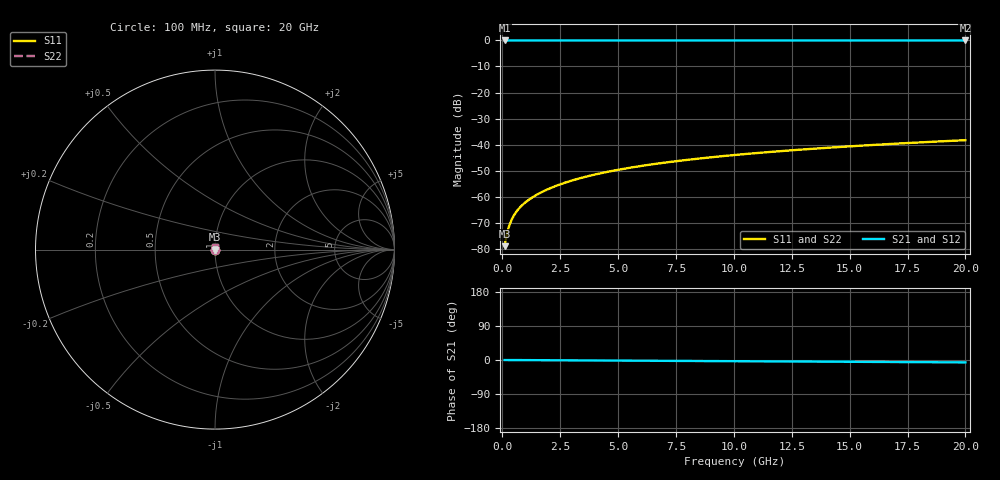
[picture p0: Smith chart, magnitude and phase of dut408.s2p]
! Touchstone file exported from HFSS 2026.1.0
!  File:  C:/ffzhzh/LocalFiles/Ansys_Project_Files/temp_train_TSV_408_1783020485_53980.aedt
!  Generated:  03:29:54 AM Jul  3, 2026
!  Design:  TSV
!  Project:  temp_train_TSV_408_1783020485_53980
! Variables:
!  h_bsmrdl = 2um
!  h_ox = 20um
!  h_rdl = 5um
!  h_sub = 56.3um
!  h_tmrdl = 5um
!  h_tsv = 56.3um
!  h_via = 3um
!  l_bsmrdl = 300um
!  l_sub = 426.4um
!  l_tmrdl = 200um
!  m_sub = 200um
!  pitch = 58.38um
!  r_tsv = 13.2um
!  s_tmrdl = 10um
!  w_bsmrdl = 18um
!  w_sub = 500um
!  w_tmrdl = 12um
!  x_tsv_center1 = 206um
!  x_tsv_center2 = 524um
!  x_tsv_center3 = 736um
!  x_tsv_center4 = 1054um
!  x_tsv_center5 = 1266um
!  x_tsv_center6 = 1584um
# GHz S MA R 50.000000
! Terminal data exported
! Port[1] = TSV1_1_T1
! Port[2] = TSV1_1_T2
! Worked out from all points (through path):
!   200 points, 100 MHz to 20 GHz, reference 50 ohm
!   highest |S21| = 0.00 dB at 100 MHz (marker M1); lowest = 0.0 dB at 20 GHz (marker M2)
!   lowest |S11| = -79.0 dB at 100 MHz (marker M3), VSWR 1.00, Z = 50 + j0.00901 ohm
!   |S11| at or under -10 dB: start of sweep to end of sweep
!   |S22| runs from -79.0 to -38.3 dB; largest |S21 - S12| = 1e-15
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0.1  0.0001116 53.9  0.9999 -0.0  0.9999 -0.0  0.0001116 53.9
! Gamma 0 0 0 0
! Port Impedance 50 0 50 0
0.2  0.000193 67.2  0.9999 -0.1  0.9999 -0.1  0.000193 67.2
0.3  0.0002763 71.4  0.9999 -0.1  0.9999 -0.1  0.0002763 71.4
0.4  0.0003569 73.0  0.9999 -0.1  0.9999 -0.1  0.0003569 73.0
0.5  0.0004336 73.8  0.9999 -0.2  0.9999 -0.2  0.0004336 73.8
0.6  0.0005068 74.3  0.9999 -0.2  0.9999 -0.2  0.0005068 74.3
0.7  0.000577 74.6  0.9998 -0.2  0.9998 -0.2  0.000577 74.6
0.9  0.0007111 75.3  0.9998 -0.3  0.9998 -0.3  0.0007111 75.3
1.1  0.0008401 76.1  0.9998 -0.4  0.9998 -0.4  0.0008401 76.1
1.3  0.0009667 76.8  0.9998 -0.4  0.9998 -0.4  0.0009667 76.8
1.6  0.001155 77.8  0.9998 -0.5  0.9998 -0.5  0.001155 77.8
1.9  0.001343 78.6  0.9997 -0.6  0.9997 -0.6  0.001343 78.6
2.6  0.001782 80.0  0.9997 -0.8  0.9997 -0.8  0.001782 80.0
3.5  0.002345 80.9  0.9997 -1.1  0.9997 -1.1  0.002345 80.9
4.2  0.00278 81.3  0.9996 -1.3  0.9996 -1.3  0.00278 81.3
5  0.003272 81.6  0.9996 -1.6  0.9996 -1.6  0.003272 81.6
6.8  0.004366 81.8  0.9995 -2.1  0.9995 -2.1  0.004366 81.8
8.3  0.005267 81.9  0.9995 -2.6  0.9995 -2.6  0.005267 81.9
10.1  0.00634 81.8  0.9994 -3.2  0.9994 -3.2  0.00634 81.8
13.4  0.008292 81.4  0.9993 -4.2  0.9993 -4.2  0.008293 81.4
16.7  0.01023 80.8  0.9992 -5.3  0.9992 -5.3  0.01023 80.7
20  0.01214 80.0  0.9991 -6.3  0.9991 -6.3  0.01214 80.0
